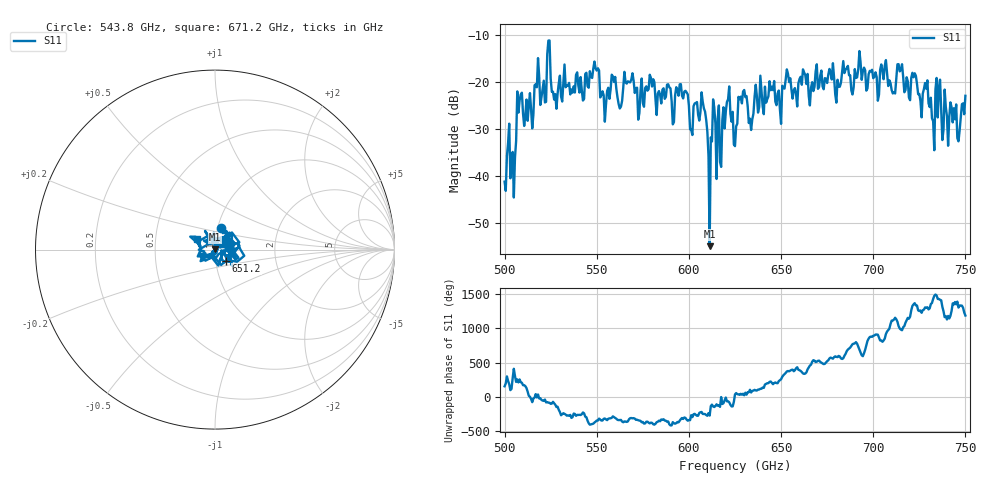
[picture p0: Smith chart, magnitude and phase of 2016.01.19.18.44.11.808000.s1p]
!Created with skrf (http://scikit-rf.org).
# GHz S RI R 50.0
!freq ReS11 ImS11
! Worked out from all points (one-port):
!   401 points, 500 GHz to 750 GHz, reference 50 ohm
!   lowest |S11| = -54.8 dB at 611.2 GHz (marker M1), VSWR 1.00, Z = 50 + j0.181 ohm
!   |S11| at or under -10 dB: start of sweep to end of sweep
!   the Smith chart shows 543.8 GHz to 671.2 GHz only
!   S11 on the Smith chart (normalised r, x): 543.8 GHz: 1.04, +0.25; 651.2 GHz: 1.12, -0.14; 671.2 GHz: 0.81, +0.10
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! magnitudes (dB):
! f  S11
! 500 GHz  -41.1
! 504.4 GHz  -34.8
! 508.1 GHz  -23.9
! 514.4 GHz  -25.8
! 524.4 GHz  -11.1
! 526.9 GHz  -23.6
! 531.2 GHz  -24.1
! 543.8 GHz  -18.2
! 550 GHz  -17.5
! 553.1 GHz  -21.9
! 559.4 GHz  -19.9
! 562.5 GHz  -25.5
! 593.8 GHz  -21.6
! 608.1 GHz  -25.5
! 611.2 GHz  -54.8
! 613.1 GHz  -23.6
! 616.2 GHz  -24.9
! 621.2 GHz  -23.6
! 625 GHz  -33.6
! 628.8 GHz  -24.5
! 633.8 GHz  -30.1
! 651.2 GHz  -21.2
! 656.2 GHz  -23.4
! 671.2 GHz  -18.6
! 687.5 GHz  -18.5
! 718.8 GHz  -19.8
! 745.6 GHz  -31.8
! 750 GHz  -22.8
